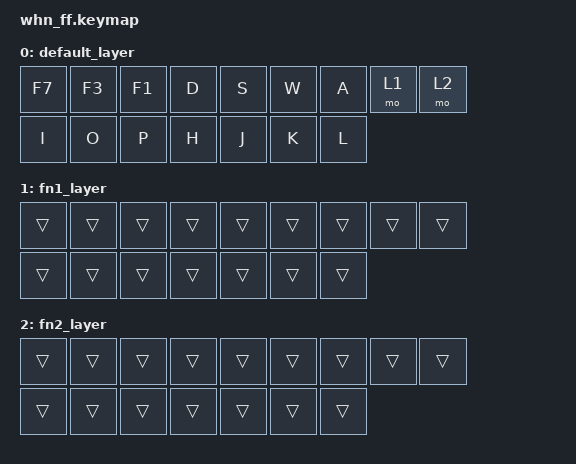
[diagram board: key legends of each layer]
#include <behaviors.dtsi>
#include <dt-bindings/zmk/keys.h>

/ {
    keymap {
        compatible = "zmk,keymap";

        default_layer {
            bindings = <
                &kp F7  &kp F3  &kp F1  &kp D   &kp S   &kp W   &kp A   &mo 1
                &mo 2   &kp I   &kp O   &kp P   &kp H   &kp J   &kp K   &kp L
            >;
        };

        fn1_layer {
            bindings = <
                &trans &trans &trans &trans &trans &trans &trans &trans
                &trans &trans &trans &trans &trans &trans &trans &trans
            >;
        };

        fn2_layer {
            bindings = <
                &trans &trans &trans &trans &trans &trans &trans &trans
                &trans &trans &trans &trans &trans &trans &trans &trans
            >;
        };
    };
};
